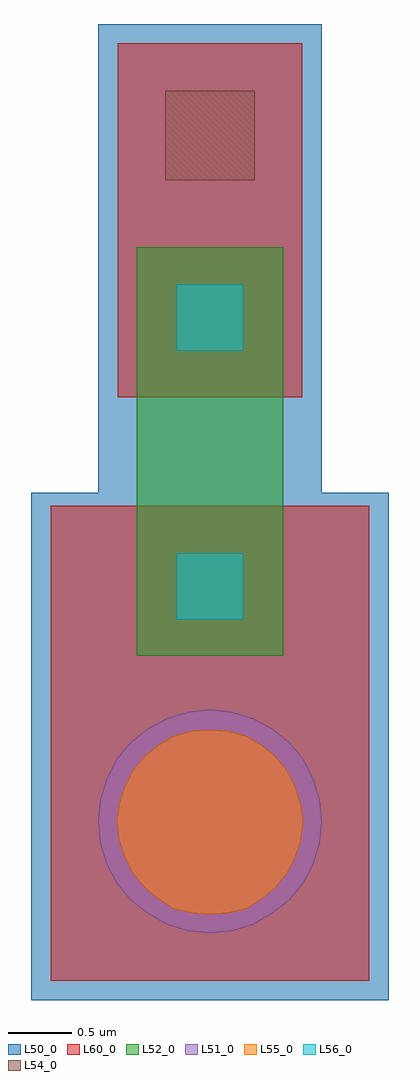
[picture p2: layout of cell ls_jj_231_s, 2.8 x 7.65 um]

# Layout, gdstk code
import gdstk
lib = gdstk.Library(unit=1e-6, precision=1e-09)
def R(c, l, rs):  # rectangles x0, y0, x1, y1
    for r in rs: c.add(gdstk.rectangle(r[:2], r[2:], *l))
def P(c, l, *ps):  # polygons
    for p in ps: c.add(gdstk.Polygon(p, *l))
L50_0 = (50, 0)
L51_0 = (51, 0)
L52_0 = (52, 0)
L54_0 = (54, 0)
L55_0 = (55, 0)
L56_0 = (56, 0)
L60_0 = (60, 0)

ls_jj_231_s = lib.new_cell('ls_jj_231_s')
R(ls_jj_231_s, L50_0, [(-1.4,-1.4,1.4,2.575), (-0.875,2.575,0.875,6.25)])
P(ls_jj_231_s, L51_0, [(0,-0.875),(0.17,-0.86),(0.335,-0.81),(0.485,-0.725),(0.62,-0.62),(0.73,-0.485),(0.81,-0.335),(0.86,-0.17),(0.875,0),(0.86,0.17),(0.81,0.335),(0.73,0.49),(0.62,0.62),(0.485,0.73),(0.335,0.81),(0.17,0.86),(0,0.88),(-0.17,0.86),(-0.335,0.81),(-0.485,0.73),(-0.62,0.62),(-0.73,0.49),(-0.81,0.335),(-0.86,0.17),(-0.875,0),(-0.86,-0.17),(-0.81,-0.335),(-0.73,-0.485),(-0.62,-0.62),(-0.485,-0.725),(-0.335,-0.81),(-0.17,-0.86)])
R(ls_jj_231_s, L52_0, [(-0.575,1.3,0.575,4.5)])
R(ls_jj_231_s, L54_0, [(-0.35,5.025,0.35,5.725)])
P(ls_jj_231_s, L55_0, [(0,-0.73),(0.14,-0.72),(0.28,-0.69),(0.4,-0.61),(0.51,-0.52),(0.6,-0.41),(0.67,-0.28),(0.71,-0.15),(0.73,0),(0.71,0.14),(0.67,0.27),(0.6,0.4),(0.51,0.51),(0.4,0.6),(0.28,0.67),(0.14,0.71),(0,0.72),(-0.14,0.71),(-0.28,0.67),(-0.4,0.6),(-0.51,0.51),(-0.6,0.4),(-0.67,0.27),(-0.71,0.14),(-0.73,0),(-0.71,-0.15),(-0.67,-0.28),(-0.6,-0.41),(-0.51,-0.52),(-0.4,-0.61),(-0.28,-0.69),(-0.14,-0.72)])
R(ls_jj_231_s, L56_0, [(-0.26,1.58,0.26,2.1), (-0.26,3.69,0.26,4.21)])
R(ls_jj_231_s, L60_0, [(-1.25,-1.25,1.25,2.475), (-0.725,3.325,0.725,6.1)])

lib.write_gds('ls_jj_231_s.gds')
